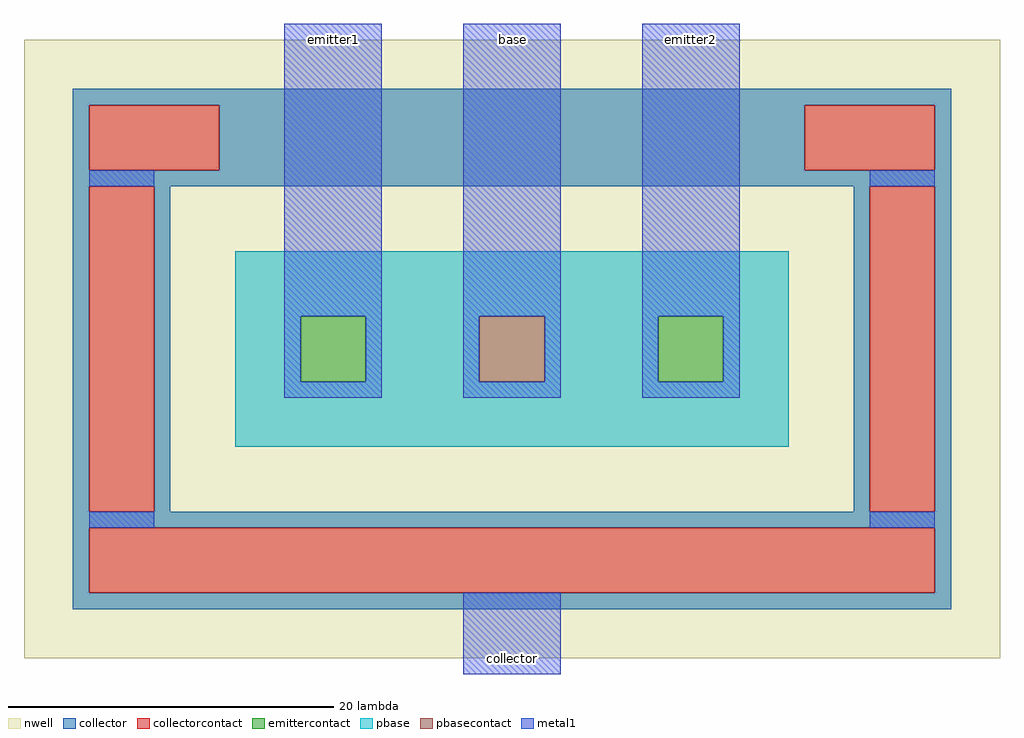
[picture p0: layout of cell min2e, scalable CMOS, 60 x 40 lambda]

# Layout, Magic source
magic
tech scmos
<< nwell >>
rect 0 1 60 39
<< metal1 >>
rect 4 30 8 31
rect 16 22 22 40
rect 16 18 17 22
rect 21 18 22 22
rect 16 17 22 18
rect 27 22 33 40
rect 27 18 28 22
rect 32 18 33 22
rect 27 17 33 18
rect 38 22 44 40
rect 38 18 39 22
rect 43 18 44 22
rect 38 17 44 18
rect 52 30 56 31
rect 4 9 8 10
rect 52 9 56 10
rect 27 0 33 5
<< collector >>
rect 3 35 57 36
rect 3 31 4 35
rect 12 31 48 35
rect 56 31 57 35
rect 3 30 57 31
rect 3 10 4 30
rect 8 10 9 30
rect 51 10 52 30
rect 56 10 57 30
rect 3 9 57 10
rect 3 5 4 9
rect 56 5 57 9
rect 3 4 57 5
<< pbase >>
rect 13 22 47 26
rect 13 18 17 22
rect 21 18 28 22
rect 32 18 39 22
rect 43 18 47 22
rect 13 14 47 18
<< collectorcontact >>
rect 4 31 12 35
rect 48 31 56 35
rect 4 10 8 30
rect 52 10 56 30
rect 4 5 56 9
<< emittercontact >>
rect 17 18 21 22
rect 39 18 43 22
<< pbasecontact >>
rect 28 18 32 22
<< labels >>
rlabel metal1 30 1 30 1 1 collector
rlabel metal1 30 39 30 39 1 base
rlabel metal1 19 39 19 39 1 emitter1
rlabel metal1 41 39 41 39 1 emitter2
<< end >>
